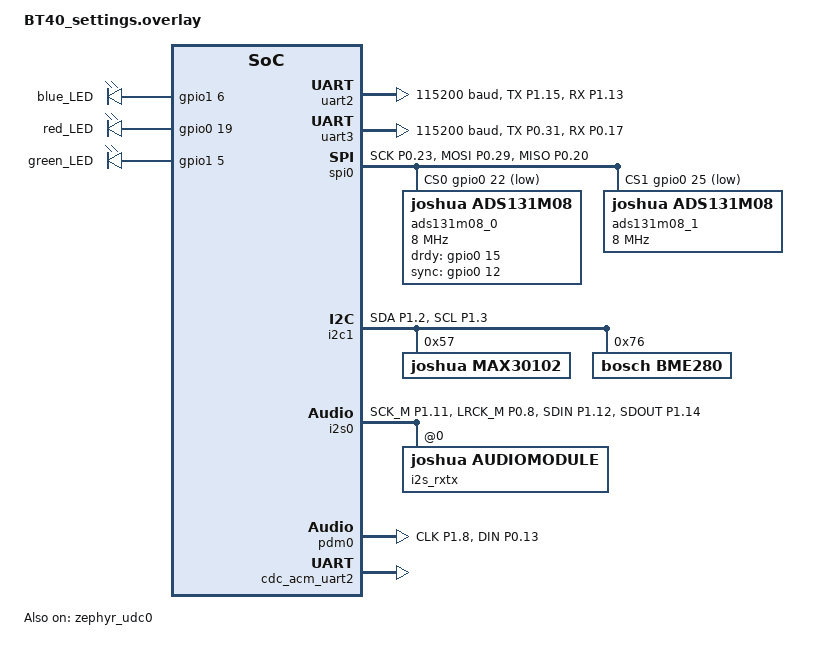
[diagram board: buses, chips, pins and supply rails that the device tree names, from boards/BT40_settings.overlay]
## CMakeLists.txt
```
cmake_minimum_required(VERSION 3.20.0)

# set(DTC_OVERLAY_FILE "nrf5340dk_nrf5340.overlay")

# Get the parent directory of ZEPHYR_BASE
# get_filename_component(PARENT_DIR ${ZEPHYR_BASE} DIRECTORY)
# set(MODULE_DIR "${PARENT_DIR}/modules")


find_package(Zephyr REQUIRED HINTS $ENV{ZEPHYR_BASE})


FILE(GLOB app_sources src/*.c*)
target_sources(app PRIVATE ${app_sources})

target_include_directories(app PRIVATE
                            include
                            include/Transports)

set_property(TARGET app PROPERTY CXX_STANDARD 17)

project(BT40_port_to_3.5)
```

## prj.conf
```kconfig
CONFIG_INIT_STACKS=y
CONFIG_THREAD_STACK_INFO=y
CONFIG_MAIN_STACK_SIZE=2048
CONFIG_SYSTEM_WORKQUEUE_STACK_SIZE=4096
CONFIG_BT_RX_STACK_SIZE=4096

# PWM
#CONFIG_PWM=y
#CONFIG_PWM_NRF5_SW=n
#CONFIG_PWM_NRFX=y

# Communication protocols
CONFIG_GPIO=y
CONFIG_I2C=y
CONFIG_SPI=y
#CONFIG_SPI_0=y

# choose UART console
CONFIG_UART_CONSOLE=n
CONFIG_LOG_BACKEND_UART=n

# Debug config
CONFIG_LOG=y
CONFIG_LOG_DEFAULT_LEVEL=3
CONFIG_LOG_MAX_LEVEL=3
# RTT Viewer
CONFIG_USE_SEGGER_RTT=y
CONFIG_LOG_BACKEND_RTT=y
CONFIG_RTT_CONSOLE=y
CONFIG_SEGGER_RTT_BUFFER_SIZE_UP=4096
#CONFIG_LOG_BACKEND_RTT_MODE_DROP=y
CONFIG_LOG_PRINTK=y

# BLE
CONFIG_BT=y
#CONFIG_BT_DEBUG_LOG=y
CONFIG_BT_PERIPHERAL=y
CONFIG_BT_CENTRAL=y
CONFIG_BT_DEVICE_NAME="BT40"
CONFIG_BT_GATT_CLIENT=y
CONFIG_BT_HCI_ACL_FLOW_CONTROL=y
CONFIG_BT_USER_PHY_UPDATE=y
CONFIG_BT_CTLR_PHY_2M=y
CONFIG_BT_CTLR_PHY_CODED=n
CONFIG_BT_ATT_PREPARE_COUNT=10
CONFIG_BT_CONN_TX_MAX=10
CONFIG_BT_L2CAP_TX_BUF_COUNT=10
CONFIG_BT_BUF_ACL_TX_SIZE=250

# Allow for large Bluetooth data packets.
CONFIG_BT_L2CAP_TX_MTU=252
CONFIG_BT_BUF_ACL_RX_SIZE=256

# Enable the Bluetooth (unauthenticated) and shell mcumgr transports.
# CONFIG_MCUMGR_SMP_BT=y
# CONFIG_MCUMGR_SMP_BT_AUTHEN=n
# CONFIG_MCUMGR_SMP_BT_CONN_PARAM_CONTROL=y
########################################################

# C++
CONFIG_CPLUSPLUS=y
CONFIG_LIB_CPLUSPLUS=y
CONFIG_NEWLIB_LIBC=y
#if  printf should be able to print float
CONFIG_NEWLIB_LIBC_FLOAT_PRINTF=y

#ADS131M08
CONFIG_USE_ADS131M08=y

#MAX30102
CONFIG_USE_MAX30102=y

#MPU6050
CONFIG_USE_MPU6050=y

#QMC
CONFIG_USE_QMC5883L=y

#TLC5940 LED Driver
# CONFIG_USE_TLC5940=y

#BME280
CONFIG_USE_BME280=y

#I2S AudioModule
#CONFIG_I2S=y
#CONFIG_USE_I2S=y

# Digital Microphone (DMIC) Module
#CONFIG_AUDIO=y
#CONFIG_USE_DMIC=y

# For FFT implementation
CONFIG_CMSIS_DSP=y
CONFIG_CMSIS_DSP_TRANSFORM=y
CONFIG_CMSIS_DSP_COMPLEXMATH=y
CONFIG_NEWLIB_LIBC=y
CONFIG_FPU=y

#USB transfer
# CONFIG_USB=y
CONFIG_USB_DEVICE_STACK=y #set to y if using usb
CONFIG_USB_DEVICE_PRODUCT="BT40"
CONFIG_USB_DEVICE_MANUFACTURER="joshuaBrewster"
CONFIG_USB_DRIVER_LOG_LEVEL_DBG=y
# Enable the USB CDC ACM driver (optional, for serial communication over USB)
CONFIG_USB_CDC_ACM=y
CONFIG_USB_CDC_ACM_LOG_LEVEL_INF=y
CONFIG_UART_LINE_CTRL=y
CONFIG_UART_ASYNC_API=y
CONFIG_UART_INTERRUPT_DRIVEN=y



CONFIG_HEAP_MEM_POOL_SIZE=2048

#Enable/Include Sensors. The sensor should be included with setting
# CONFIG_USE_SENSOR_NAME flag to y. For example: CONFIG_USE_BME280=y
# See Kconfig file for the full list of supported sensors
CONFIG_USE_MCU2MCU=y

# Needed for FOTA
########################################################
# Enable mcumgr.
# Ensure an MCUboot-compatible binary is generated.
CONFIG_BOOTLOADER_MCUBOOT=y


CONFIG_ZCBOR=y
CONFIG_MCUMGR=y
CONFIG_MCUMGR_TRANSPORT_BT=y

CONFIG_BOOT_BANNER_STRING="Booting BT40 + ADS131M08"
CONFIG_NCS_SAMPLE_MCUMGR_BT_OTA_DFU=y
```

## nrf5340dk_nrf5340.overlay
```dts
// To get started, press Ctrl+Space to bring up the completion menu and view the available nodes.
// For more help, browse the DeviceTree documentation at https: //docs.zephyrproject.org/latest/guides/dts/index.html

//NOTE gpio 1.xx are formatted as 32 + xx; e.g. 1.00 is 32, 1.10 is 42

/ {
    
    aliases {
        //pwmadc = &pwm_dev0;
        //tlc = &tlc5940;
    };

    //pwmdevs {
    //    compatible = "pwm-leds";
    //    pwm_dev0: pwm_dev_0 {
    //        pwms = <&pwm0 33>;
    //    };
    //};

    // tlc5940: tlc5940_node {
    //     // compatible = "gpio-leds";
    //     tlc-gpios = <&gpio1 0 GPIO_ACTIVE_HIGH>, /* output pin, GSCLK */
    //                 <&gpio1 1 GPIO_ACTIVE_HIGH>, /* output pin, XLAT */
    //                 <&gpio1 4 GPIO_ACTIVE_HIGH>, /* output pin, BLANK */
    //                 <&gpio1 5 GPIO_ACTIVE_HIGH>, /* output pin, SIN */
    //                 <&gpio1 6 GPIO_ACTIVE_HIGH>; /* output pin, SCLK */
    //     status = "okay";
    // };

};

// &pwm0 {
// 	status = "okay";
// 	ch0-pin = <33>;
// 	//ch0-inverted;
// };

&uart0 {
    status = "disabled";
};

&uart1 {
    status = "disabled";
};

// &uart2 {
//     status = "okay";
//     current-speed = <115200>;
//     tx-pin = <47>;
//     rx-pin = <45>;
//     rts-pin = <0xFFFFFFFF>;
//     cts-pin = <0xFFFFFFFF>;
// };

&uart3 {
    status = "okay";
    compatible = "nordic,nrf-uarte";
    current-speed = <115200>;
    tx-pin = <43>;
    rx-pin = <45>;
    rts-pin = <0xFFFFFFFF>;
    cts-pin = <0xFFFFFFFF>;
};

&spi0 {
    compatible = "nordic,nrf-spim";
    status = "okay";
    sck-pin = <23>;
    mosi-pin = <29>; //DIN
    miso-pin = <20>; //DOUT
    cs-gpios = <&gpio0 22 GPIO_ACTIVE_LOW>, <&gpio0 25 GPIO_ACTIVE_LOW>;

    ads131m08_0: ads131m08@0 {
        status = "okay";
        reg = <0>;
        label = "ADS131M08_0";
    };

    ads131m08_1: ads131m08@1 {
        status = "okay";
        reg = <1>;
        label = "ADS131M08_1";
    };
};

&spi1 {
    status = "disabled";
};

&spi2 {
    status = "disabled";
};

&i2c0 {
    status = "disabled";
};

&i2c1 {
    status = "okay";
    sda-pin = <34>;
    scl-pin = <35>;
    max30102@57 {
        compatible = "maxim,max30102";
        label = "MAX30102";
        reg = <0x57>;
        mode = <2>;
        status = "okay";
    };
    bme280: bme280@76 {
        /* 0x76 - SDO <-> GND */
        /* 0x77 - SDO <-> VCC */
        compatible = "bosch,bme280";
        reg = <0x76>;
        label = "ENVIRONMENTAL_SENSOR";
    };
};

&zephyr_udc0 {
    cdc_acm_uart2 {
        compatible = "zephyr,cdc-acm-uart";
        label = "CDC_ACM_0";
    };
};

&clock {
    hfclkaudio-frequency = <11289600>;
};

i2s_rxtx: &i2s0 {
    status = "okay";
    sck-pin =   <43>; 
    lrck-pin =  <8>; 
    sdout-pin = <44>;
    sdin-pin =  <46>; 
    clock-source = "ACLK";
};

dmic_dev: &pdm0 {
	status = "okay";
	clk-pin = <40>; 
	din-pin = <13>; 
	clock-source = "ACLK";
};
```

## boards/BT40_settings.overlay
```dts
// To get started, press Ctrl+Space to bring up the completion menu and view the available nodes.
// For more help, browse the DeviceTree documentation at https: //docs.zephyrproject.org/latest/guides/dts/index.html

//NOTE gpio 1.xx are formatted as 32 + xx; e.g. 1.00 is 32, 1.10 is 42

/ {
    
	chosen {
		//  zephyr,console = &uart0;
	};

	aliases {
		errorled = &led2;
		powerled = &led3;
		debugled = &led1;
		ads0 = &ads131m08_0;
		ads1 = &ads131m08_1;
		max = &max30102;
		bme = &bme280;
		// i2srxtx = &i2s_rxtx;
	};

	buttons {
		compatible = "gpio-keys";
		button0: button_0 {
			status = "disabled";
		};
		button1: button_1 {
			status = "disabled";
		};
		button2: button_2 {
			status = "disabled";
		};
		button3: button_3 {
			status = "disabled";
		};
	};
		
	leds {
		compatible = "gpio-leds";
		led1: led_1 {
			gpios = <&gpio1 6 GPIO_ACTIVE_HIGH>;
			label = "blue_LED";
		};
		led2: led_2 {
			gpios = <&gpio0 19 GPIO_ACTIVE_HIGH>;
			label = "red_LED";
		};
		led3: led_3 {
			gpios = <&gpio1 5 GPIO_ACTIVE_HIGH>;
			label = "green_LED";
		};
	};
};

&led0 {
	status = "disabled";
};
	
&uart0 {
	status = "disabled";
};

&uart1 {
	status = "disabled";
};
	
&uart2 {
    status = "okay";
    current-speed = <115200>;
	pinctrl-0 = <&uart2_default>;
	pinctrl-1 = <&uart2_sleep>;
	pinctrl-names = "default", "sleep";
	// label = "UART_2";
    // tx-pin = <47>;
    // rx-pin = <45>;
    // rts-pin = <0xFFFFFFFF>;
    // cts-pin = <0xFFFFFFFF>;
};

&uart3 {
	status = "okay";
    current-speed = <115200>;
	pinctrl-0 = <&uart3_default>;
	pinctrl-1 = <&uart3_sleep>;
	pinctrl-names = "default", "sleep";
	// label = "UART_3";
    // tx-pin = <31>;
    // rx-pin = <17>;
    // rts-pin = <0xFFFFFFFF>;
    // cts-pin = <0xFFFFFFFF>;
};

&spi0 {
	status = "okay";
	compatible = "nordic,nrf-spim";
	pinctrl-0 = <&spi0_default>;
	pinctrl-1 = <&spi0_sleep>;
	pinctrl-names = "default", "sleep";
	cs-gpios = <&gpio0 22 GPIO_ACTIVE_LOW>, <&gpio0 25 GPIO_ACTIVE_LOW>;
	// sck-pin = <23>;
	// miso-pin = <20>; //DOUT
	// mosi-pin = <29>; //DIN
	
	ads131m08_0: ads131m08@0 {
		status = "okay";
		// #address-cells = <1>;
		// #size-cells = <0>;
		spi-max-frequency = <DT_FREQ_M(8)>;
		drdy-gpios = <&gpio0 15  GPIO_PULL_UP>;				// Data Ready gpio
		sync-gpios = <&gpio0 12  GPIO_ACTIVE_HIGH>;			// ADC Reset gpio
		compatible = "joshua,ads131m08";
		reg = <0>;
		// label = "ADS131M08_0";
	};
	
	ads131m08_1: ads131m08@1 {
		status = "okay";
		// #address-cells = <1>;
		// #size-cells = <0>;
		spi-max-frequency = <DT_FREQ_M(8)>;
		// drdy-gpios = <&gpio0 11  GPIO_PULL_UP>;				// Data Ready gpio
		// sync-gpios = <&gpio0 9  GPIO_ACTIVE_HIGH>;			// ADC Reset gpio
		compatible = "joshua,ads131m08";
		reg = <1>;
		// label = "ADS131M08_1";
	};
};

&spi4 {
	status = "disabled";
};

&i2c1 {
   status = "okay";
   pinctrl-0 = <&i2c1_default>;
   pinctrl-1 = <&i2c1_sleep>;
	// label = "name_label";
	// sda-pin = <34>;
	// scl-pin = <35>;
   
   max30102: max30102@57 {
       status = "okay";
	   compatible = "joshua,max30102";
       reg = <0x57>;
	   //    mode = <2>;
	   //    label = "MAX30102";
	};
	
	bme280: bme280@76 {
	   /* 0x76 - SDO <-> GND */
	   /* 0x77 - SDO <-> VCC */
	   compatible = "bosch,bme280";
	   reg = <0x76>;
	   // label = "ENVIRONMENTAL_SENSOR";		// deprecated property
	};
};

// i2s_rxtx: &i2s0 {
&i2s0 {
    status = "okay";
	pinctrl-0 = <&i2s_default>;
    // // sck-pin =   <43>; 
    // // lrck-pin =  <8>; 
    // // sdout-pin = <44>;
    // // sdin-pin =  <46>; 
    clock-source = "ACLK";
	
	i2s_rxtx: i2s_rxtx@0 {
		status = "okay";
		compatible = "joshua,audiomodule";
		reg = <0x0>;
	};
};

&pdm0 {
	status = "okay";
	pinctrl-0 = <&pdm_default>;
	// clk-pin = <40>; 
	// din-pin = <13>; 
	clock-source = "ACLK";
	dmicdev: dmicdev {
		status = "okay";
	};
};
	
&zephyr_udc0 {
    cdc_acm_uart2 {
        compatible = "zephyr,cdc-acm-uart";
        // label = "CDC_ACM_0";			// Deprecated
    };
	status = "okay";
};

&clock {
    hfclkaudio-frequency = <11289600>;
};
 
&ieee802154 {
	status = "disabled";
};
 
&mutex {
	status = "disabled";
};

&nfct {
	status = "disabled";
};

&oscillators {
	status = "disabled";
};

&pwm0 {
	status = "disabled";
};

&ctrlap {
	status = "disabled";
};

&reset {
	status = "disabled";
};

&dcnf {
	status = "disabled";
};


&rtc1 {
	status = "disabled";
};

&gpio0 {
	status = "okay";
};

&gpio1 {
	status = "okay";
};

//-------------------------------------------------------------------
&pinctrl {
	uart2_default: uart2_default {
		group1 {
			psels = <NRF_PSEL(UART_TX, 1, 15)>,
			<NRF_PSEL(UART_RTS, 0, 0xFFFFFFFF)>;
		};
		group2 {
			psels = <NRF_PSEL(UART_RX, 1, 13)>,
			<NRF_PSEL(UART_CTS, 0, 0xFFFFFFFF)>;
			bias-pull-up;
		};
	};
	
	uart2_sleep: uart2_sleep {
		group1 {
			psels = <NRF_PSEL(UART_TX, 1, 15)>,
			<NRF_PSEL(UART_RX, 1, 13)>,
			<NRF_PSEL(UART_RTS, 0, 0xFFFFFFFF)>,
			<NRF_PSEL(UART_CTS, 0, 0xFFFFFFFF)>;
			low-power-enable;
		};
	};

	uart3_default: uart3_default {
		group1 {
			psels = <NRF_PSEL(UART_TX, 0, 31)>;
		};
		group2 {
			psels = <NRF_PSEL(UART_RX, 0, 17)>;
			bias-pull-up;
		};
	};
	
	uart3_sleep: uart3_sleep {
		group1 {
			psels = <NRF_PSEL(UART_TX, 0, 31)>,
			<NRF_PSEL(UART_RX, 0, 17)>;
			low-power-enable;
		};
	};
	
	spi0_default: spi0_default {
		group1 {
			psels = <NRF_PSEL(SPIM_SCK, 0, 23)>,
					<NRF_PSEL(SPIM_MOSI, 0, 29)>,
					<NRF_PSEL(SPIM_MISO, 0, 20)>;
		};
	};

	spi0_sleep: spi0_sleep {
		group1 {
			psels = <NRF_PSEL(SPIM_SCK, 0, 23)>,
				    <NRF_PSEL(SPIM_MISO, 0, 20)>,
					<NRF_PSEL(SPIM_MOSI, 0, 29)>;
			low-power-enable;
		};
	};
	
	i2c1_default: i2c1_default {
		group1 {
			psels = <NRF_PSEL(TWIM_SDA, 1, 2)>,
				<NRF_PSEL(TWIM_SCL, 1, 3)>;
		};
	};
	
	i2c1_sleep: i2c1_sleep {
		group1 {
			psels = <NRF_PSEL(TWIM_SDA, 1, 2)>,
				<NRF_PSEL(TWIM_SCL, 1, 3)>;
			low-power-enable;
		};
	};

	i2s_default: i2s_default {
		group1 {
			psels = <NRF_PSEL(I2S_SCK_M, 1, 11)>,
				<NRF_PSEL(I2S_LRCK_M, 0, 8)>,
				<NRF_PSEL(I2S_SDIN, 1, 12)>,
				<NRF_PSEL(I2S_SDOUT, 1, 14)>;
		};
	};

	pdm_default: pdm_default {
		group1 {
			psels = <NRF_PSEL(PDM_CLK, 1, 8)>,
				<NRF_PSEL(PDM_DIN, 0, 13)>;
		};
	};
};
```

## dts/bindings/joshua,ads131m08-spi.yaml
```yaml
description: ADS131M08 8-channel 24-bit Analog-to-Digital Converter

compatible: "joshua,ads131m08"

include: spi-device.yaml
# include: spi-controller.yaml

# on-bus: spi
```

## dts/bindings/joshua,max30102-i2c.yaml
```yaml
description: MAX30102 heart rate sensor

compatible: "joshua,max30102"

include: [sensor-device.yaml, i2c-device.yaml]
```

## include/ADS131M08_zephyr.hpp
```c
#pragma once

#include <zephyr/types.h>
#include <zephyr/device.h>
#include <zephyr/drivers/gpio.h>
#include <zephyr/drivers/spi.h>
#include <zephyr/sys/util.h>
#include <atomic>

#define ADS131_ID 0x00
#define ADS131_STATUS 0x01
#define ADS131_MODE 0x02
#define ADS131_CLOCK 0x03
#define ADS131_GAIN1 0x04
#define ADS131_GAIN2 0x05
#define ADS131_CFG 0x06
#define ADS131_THRSHLD_MSB 0x07
#define ADS131_THRSHLD_LSB 0x08

#define ADS131_CH0_CFG 0x09
#define ADS131_CH0_OCAL_MSB 0x0A
#define ADS131_CH0_OCAL_LSB 0x0B
#define ADS131_CH0_GCAL_MSB 0x0C
#define ADS131_CH0_GCAL_LSB 0x0D
#define ADS131_CH1_CFG 0x0E
#define ADS131_CH1_OCAL_MSB 0x0F
#define ADS131_CH1_OCAL_LSB 0x10
#define ADS131_CH1_GCAL_MSB 0x11
#define ADS131_CH1_GCAL_LSB 0x12
#define ADS131_CH2_CFG 0x13
#define ADS131_CH2_OCAL_MSB 0x14
#define ADS131_CH2_OCAL_LSB 0x15
#define ADS131_CH2_GCAL_MSB 0x16
#define ADS131_CH2_GCAL_LSB 0x17
#define ADS131_CH3_CFG 0x18
#define ADS131_CH3_OCAL_MSB 0x19
#define ADS131_CH3_OCAL_LSB 0x1A
#define ADS131_CH3_GCAL_MSB 0x1B
#define ADS131_CH3_GCAL_LSB 0x1C
#define ADS131_CH4_CFG 0x1D
#define ADS131_CH4_OCAL_MSB 0x1E
#define ADS131_CH4_OCAL_LSB 0x1F
#define ADS131_CH4_GCAL_MSB 0x20
#define ADS131_CH4_GCAL_LSB 0x21
#define ADS131_CH5_CFG 0x22
#define ADS131_CH5_OCAL_MSB 0x23
#define ADS131_CH5_OCAL_LSB 0x24
#define ADS131_CH5_GCAL_MSB 0x25
#define ADS131_CH5_GCAL_LSB 0x26
#define ADS131_CH6_CFG 0x27
#define ADS131_CH6_OCAL_MSB 0x28
#define ADS131_CH6_OCAL_LSB 0x29
#define ADS131_CH6_GCAL_MSB 0x2A
#define ADS131_CH6_GCAL_LSB 0x2B
#define ADS131_CH7_CFG 0x2C
#define ADS131_CH7_OCAL_MSB 0x2D
#define ADS131_CH7_OCAL_LSB 0x2E
#define ADS131_CH7_GCAL_MSB 0x2F
#define ADS131_CH7_GCAL_LSB 0x30


#define ADS131_REGMAP_CRC 0x3E
#define ADS131_RESERVED 0x3F

#define ADS131_READ 0x0A
#define ADS131_WRITE 0x06

class ADS131M08 {
    public:

    //SPIClass * spi = NULL; // SPISettings(spiClk, MSBFIRST, SPI_MODE1)
    int CS, XTAL, DRDY;
    int SpiClk;
    bool firstRead = true;
    uint8_t nWordsInFrame = 10; //< Normal frame contains 10 Words 
    uint8_t nBytesInWord = 3;   //< 24-bit Word by default
    // Dummy word frame to write ADC during ADC data reads
    
    ADS131M08();
    void init(uint8_t cs_pin, uint8_t drdy_pin, uint8_t sync_rst_pin, uint32_t spi_frequency);
    uint16_t readReg(uint8_t reg);
    bool writeReg(uint8_t reg, uint16_t data);
    bool setGain(uint8_t gain);
    void readAllChannels(uint8_t * data_buffer);

#if 0    
    void readChannels(int8_t * channelArrPtr, int8_t channelArrLen, int32_t * outputArrPtr);
    void readAllChannels(int32_t inputArr[8]);
    int32_t readChannelSingle(int8_t channel);
    bool globalChop(bool enabled, uint8_t log2delay);
    bool writeReg(uint8_t reg, uint16_t data);
    uint16_t readReg(uint8_t reg);
    bool setGain(int gain);
    uint32_t spiTransferWord(uint16_t inputData = 0x0000);
    void spiCommFrame(uint32_t * outPtr, uint16_t command = 0x0000);
    int32_t twoCompDeco(uint32_t data);
#endif

private:
    //uint32_t spiTransferWord(uint16_t inputData = 0x0000);
    void spiCommandFrame(uint8_t frame_size, uint8_t *cmdFrame);
    uint16_t spiResponseFrame(uint8_t frame_size);
    void spiDataFrame(uint8_t frame_size, uint8_t *data_buffer);
    
    //void ads131m08_drdy_cb(const struct device *port, struct gpio_callback *cb, gpio_port_pins_t pins);           ///< Callback function to call when data ready 
    std::atomic<int> deviceStatus = 0;  ///< SPI Device status
    const device *spiDevice = nullptr;  ///< Logical SPI device
    const device *gpioDevice = nullptr; ///< Device for GPIOs (DRDY and SYNC/RESET)
    struct gpio_callback callback;      ///< 
    struct spi_cs_control csConfig;     ///< Chip select config
    struct spi_config spiConfig;        ///< SPI transport config
};


#if 0
#ifndef ADS131M08_H
#define ADS131M08_H
//ADS131M08.cpp LGPL 
//Adapted for the 8 channel device from https://github.com/icl-rocketry/ADS131M04-Lib (LGPL)


/* Definitions of all the addresses of the registers of the ADS131M04
   Chip. For the content of the registers, please refer to the datasheet:

   https://www.ti.com/lit/gpn/ads131m04

   Written by Imperial College London Rocketry
   Electronics subteam
*/

#include <zephyr/types.h>
#include <device.h>
#include <drivers/gpio.h>
#include <drivers/spi.h>
#include <sys/util.h>

#define ADS131_ID 0x00
#define ADS131_STATUS 0x01
#define ADS131_MODE 0x02
#define ADS131_CLOCK 0x03
#define ADS131_GAIN1 0x04
#define ADS131_GAIN2 0x05
#define ADS131_CFG 0x06
#define ADS131_THRSHLD_MSB 0x07
#define ADS131_THRSHLD_LSB 0x08

#define ADS131_CH0_CFG 0x09
#define ADS131_CH0_OCAL_MSB 0x0A
#define ADS131_CH0_OCAL_LSB 0x0B
#define ADS131_CH0_GCAL_MSB 0x0C
#define ADS131_CH0_GCAL_LSB 0x0D
#define ADS131_CH1_CFG 0x0E
#define ADS131_CH1_OCAL_MSB 0x0F
#define ADS131_CH1_OCAL_LSB 0x10
#define ADS131_CH1_GCAL_MSB 0x11
#define ADS131_CH1_GCAL_LSB 0x12
#define ADS131_CH2_CFG 0x13
#define ADS131_CH2_OCAL_MSB 0x14
#define ADS131_CH2_OCAL_LSB 0x15
#define ADS131_CH2_GCAL_MSB 0x16
#define ADS131_CH2_GCAL_LSB 0x17
#define ADS131_CH3_CFG 0x18
#define ADS131_CH3_OCAL_MSB 0x19
#define ADS131_CH3_OCAL_LSB 0x1A
#define ADS131_CH3_GCAL_MSB 0x1B
#define ADS131_CH3_GCAL_LSB 0x1C
#define ADS131_CH4_CFG 0x1D
#define ADS131_CH4_OCAL_MSB 0x1E
#define ADS131_CH4_OCAL_LSB 0x1F
#define ADS131_CH4_GCAL_MSB 0x20
#define ADS131_CH4_GCAL_LSB 0x21
#define ADS131_CH5_CFG 0x22
#define ADS131_CH5_OCAL_MSB 0x23
#define ADS131_CH5_OCAL_LSB 0x24
#define ADS131_CH5_GCAL_MSB 0x25
#define ADS131_CH5_GCAL_LSB 0x26
#define ADS131_CH6_CFG 0x27
#define ADS131_CH6_OCAL_MSB 0x28
#define ADS131_CH6_OCAL_LSB 0x29
#define ADS131_CH6_GCAL_MSB 0x2A
#define ADS131_CH6_GCAL_LSB 0x2B
#define ADS131_CH7_CFG 0x2C
#define ADS131_CH7_OCAL_MSB 0x2D
#define ADS131_CH7_OCAL_LSB 0x2E
#define ADS131_CH7_GCAL_MSB 0x2F
#define ADS131_CH7_GCAL_LSB 0x30


#define ADS131_REGMAP_CRC 0x3E
#define ADS131_RESERVED 0x3F

#define ADS131_READ 0x0A
#define ADS131_WRITE 0x06


class ADS131M08 {
    public:

    SPIClass * spi = NULL; // SPISettings(spiClk, MSBFIRST, SPI_MODE1)
    int CS, XTAL, DRDY;
    int SpiClk;
    bool firstRead = true;
    int nFrameWords = 10;
    // Dummy word frame to write ADC during ADC data reads
    
    //arduino
    ADS131M08(int cs=5, int xtal=22, int drdy=21, int clk = 2000000);
    void init(int clkin = 8192000);
    void readChannels(int8_t * channelArrPtr, int8_t channelArrLen, int32_t * outputArrPtr);
    void readAllChannels(int32_t inputArr[8]);
    int32_t readChannelSingle(int8_t channel);
    bool globalChop(bool enabled, uint8_t log2delay);
    bool writeReg(uint8_t reg, uint16_t data);
    uint16_t readReg(uint8_t reg);
    bool setGain(int gain);
    uint32_t spiTransferWord(uint16_t inputData = 0x0000);
    void spiCommFrame(uint32_t * outPtr, uint16_t command = 0x0000);
    int32_t twoCompDeco(uint32_t data);
    
    //zephyr
    struct device *dev;
    struct spi_dt_spec spi;
    struct gpio_dt_spec interrupt;
};

#endif

#endif
```

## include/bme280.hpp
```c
#pragma once

#include <zephyr/kernel.h>
#include <zephyr/device.h>
#include <zephyr/devicetree.h>
#include <zephyr/drivers/sensor.h>
#include <atomic>
#include <stdlib.h>
#include <zephyr/logging/log.h>

#include "ble_service.hpp"
#include "usb_comm_handler.hpp"
#include "ble_types.hpp"
#include "ble_commands.hpp"

class UsbCommHandler;

namespace
{
    constexpr static int stackSize = 1024;           ///< Worker thread size
    constexpr static int taskPriority = 7;           ///< Worker thread priority
    K_THREAD_STACK_DEFINE(pollStackArea, stackSize); ///< Worker thread stack

struct bme280_data {
	/* Compensation parameters. */
	uint16_t dig_t1;
	int16_t dig_t2;
	int16_t dig_t3;
	uint16_t dig_p1;
	int16_t dig_p2;
	int16_t dig_p3;
	int16_t dig_p4;
	int16_t dig_p5;
	int16_t dig_p6;
	int16_t dig_p7;
	int16_t dig_p8;
	int16_t dig_p9;
	uint8_t dig_h1;
	int16_t dig_h2;
	uint8_t dig_h3;
	int16_t dig_h4;
	int16_t dig_h5;
	int8_t dig_h6;

	/* Compensated values. */
	int32_t comp_temp;
	uint32_t comp_press;
	uint32_t comp_humidity;

	/* Carryover between temperature and pressure/humidity compensation. */
	int32_t t_fine;

	uint8_t chip_id;
};    
}

/**
 * @brief Bme280 driver
 */
class Bme280 {   
  
    constexpr static auto pollPeriod = 300;  ///< BME280 polling period in milliseconds
    constexpr static uint8_t bme280_id = 0x60;
    constexpr static uint8_t bmp280_id_sample_1 = 0x56;
    constexpr static uint8_t bmp280_id_sample_2 = 0x57;
    constexpr static uint8_t bmp280_id_mp = 0x58;

public:
    /**
     * @brief Construct a new Bme280 object
     */
    Bme280(UsbCommHandler &controller);

    /**
     * @brief Initialization function. Used to perform actual initialization. Because of software stack initialization
     * could not be done in constructor
     * @return Status, 0 for no errors
     */
    int Initialize();    

    /**
     * @brief Start taking BME280 samples (ambient tempeature, pressure, himidity)
     */
    void StartSampling();    

    /**
     * @brief Stop taking BME280 samples (ambient tempeature, pressure, himidity)
     */
    void StopSampling();

    /**
     * @brief Check if either BME280 or BMP280 device is connected to I2C bus
     * @return TRUE if either of BME280 or BMP280 is on the bus, FALSE otherwise
     */
    bool BmX280IsOnI2cBus(); 

    /**
     * @brief Check if BME280 device is connected to I2C bus
     * @return TRUE if BME280 is on the bus, FALSE otherwise
     */
    bool Bme280IsOnI2cBus(); 

private:
    /**
     * @brief Main working thread. Used to perform accelerometer polling.
     * Due possible blocking during accelerometer measurments reading
     * it required a separate stack to not break main BLE stack state machine
     * 
     * @param data pointer to this
     */
    static void WorkingThread(void *data, void *, void *){
        Bme280 *self = static_cast<Bme280 *>(data);
        int ret = 0;        
        self->tx_buf[0] = self->bmx_id;

        for (;;)
        {
            k_sem_take(&self->pollSemaphore, K_FOREVER);

            ret = sensor_sample_fetch(self->bme280_dev);
            ret += sensor_channel_get(self->bme280_dev, SENSOR_CHAN_AMBIENT_TEMP, &self->temperature_channel);
            ret += sensor_channel_get(self->bme280_dev, SENSOR_CHAN_PRESS, &self->pressure_channel);
		    
            if(self->Bme280IsOnI2cBus()){ // If BME280 is on I2C Buss
               ret += sensor_channel_get(self->bme280_dev, SENSOR_CHAN_HUMIDITY, &self->humidity_channel);

                if (ret == 0){
                    memcpy((self->tx_buf + 24*self->sample_cnt + 2), &self->temperature_channel.val1, sizeof(self->temperature_channel));
                    memcpy((self->tx_buf + 24*self->sample_cnt + 10), &self->pressure_channel.val1, sizeof(self->pressure_channel));
                    memcpy((self->tx_buf + 24*self->sample_cnt + 18), &self->humidity_channel.val1, sizeof(self->humidity_channel));

                    self->sample_cnt++;

                    if(self->sample_cnt == 3){
                        self->sample_cnt = 0;
                        self->tx_buf[1] = self->packet_cnt;
                        self->packet_cnt++;
                        self->serialHandler.SendBme280Samples(self->tx_buf, 74);
                        Bluetooth::Bme280Notify(self->tx_buf, 74); 
                    }
                } else {

                }           
            } else {  // BMP280 is on the bus. Don't fetch Humidity data.
                if (ret == 0){
                    memcpy((self->tx_buf + 16*self->sample_cnt + 2), &self->temperature_channel.val1, sizeof(self->temperature_channel));
                    memcpy((self->tx_buf + 16*self->sample_cnt + 10), &self->pressure_channel.val1, sizeof(self->pressure_channel));

                    self->sample_cnt++;

                    if(self->sample_cnt == 3){
                        self->sample_cnt = 0;
                        self->tx_buf[1] = self->packet_cnt;
                        self->packet_cnt++;
                        self->serialHandler.SendBme280Samples(self->tx_buf, 50);
                        Bluetooth::Bme280Notify(self->tx_buf, 50); 
                    }
                } else {

                }           
            }

        }
    }

    /**
     * @brief Reset Bme280 device
     */
    void Reset();

    /**
     * @brief Get a device structure from a devicetree node with compatible
     * "bosch,bme280". (If there are multiple, just pick one.)
     */
    const struct device * get_bme280_device(void);

    /**
     * @brief Shutdown Bme280 device
     */
    void Shutdown();

    /**
     * @brief Wakeup Bme280 device
     */
    void Wakeup();

    /**
     * @brief Read ID register and figure out whether we have BMP280 or BME280 on I2C bus
     */
    void GetChipId(const struct device *dev);

    /**
     * @brief Called when trigger mode is received via BLE
     * 
     * @param buffer receviced buffer
     * @param length buffer length
     * @param offset data offset
     * 
     * @return true if command was processed succesfully
     */
    bool OnBleCommand(const uint8_t* buffer, Bluetooth::CommandKey key, Bluetooth::BleLength length, Bluetooth::BleOffset offset);

    /**
     * @brief Timer handler. Used to queue Reading of the BME280 data.
     * 
     * @param tmr timer object
     * @warning Called at ISR Level, no actual workload should be implemented here
     */
    static void TimerHandler(k_timer *tmr){
        Bme280 *self = CONTAINER_OF(tmr, Bme280, timer);
        k_sem_give(&self->pollSemaphore);
    }

    struct bme280_data * ToData(const struct device *dev);

    const struct device * bme280_dev;
    uint8_t bmx_id; 
    uint8_t sample_cnt;
    uint8_t packet_cnt;
    std::atomic<bool> bme280_is_on_i2c_bus_; ///< Device status
    std::atomic<bool> bmp280_is_on_i2c_bus_; ///< Device status
    UsbCommHandler &serialHandler; ///< USB communication controller
    uint8_t tx_buf[73] = {};
    k_timer timer;       ///< Timer object
    k_sem pollSemaphore; ///< Semaphore used to accelerometer polling
    k_thread worker;     ///< Worker thread
    struct sensor_value temperature_channel; ///< Value taken from one of the BME280 ambient temperature channel
    struct sensor_value pressure_channel; ///< Value taken from one of the BME280 pressure channel
    struct sensor_value humidity_channel; ///< Value taken from one of the BME280 humidity channel
};
```

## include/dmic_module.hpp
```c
#pragma once

#include <string.h>
#include <nrf.h>
#include <zephyr/kernel.h>

#include <zephyr/types.h>
#include <zephyr/device.h>
#include <zephyr/drivers/gpio.h>

#include <zephyr/sys/util.h>
#include <atomic>
#include "ble_types.hpp"
#include "ble_commands.hpp"
#include "device_string.hpp"

/*************************/
#include <zephyr/device.h>
#include <zephyr/audio/dmic.h>
#include "arm_math.h"
#include "dsp/transform_functions.h"

#include <zephyr/logging/log.h>
#include <zephyr/sys/printk.h>

#define MAX_SAMPLE_RATE  16000
#define SAMPLE_BIT_WIDTH 16
#define BYTES_PER_SAMPLE sizeof(int16_t)
/* Milliseconds to wait for a block to be read. */
#define READ_TIMEOUT     1000

#define FFT_LENGTH 32

/* Size of a block for 100 ms of audio data. */
#define BLOCK_SIZE(_sample_rate, _number_of_channels) \
	(BYTES_PER_SAMPLE * (_sample_rate / 10) * _number_of_channels)

/* Driver will allocate blocks from this slab to receive audio data into them.
 * Application, after getting a given block from the driver and processing its
 * data, needs to free that block.
 */
#define MAX_BLOCK_SIZE   BLOCK_SIZE(MAX_SAMPLE_RATE, 1)
#define BLOCK_COUNT      8

namespace
{
    constexpr static int stackSizeDmic = 2048;           ///< Worker thread size
    constexpr static int taskPriorityDmic = 1;           ///< Worker thread priority
    K_THREAD_STACK_DEFINE(pollStackAreaDmic, stackSizeDmic); ///< Worker thread stack
} // namespace

/**
 * @brief DmicModule driver
 */
class DmicModule {
    
public:
    /**
     * @brief Construct a new DmicModule object
     */
    DmicModule();

    /**
     * @brief Initialization function. Used to perform actual initialization. Because of software stack initialization
     * could not be done in constructor
     * @return Status, 0 for no errors
     */
    int Initialize();

    /**
     * @brief Start taking Audio samples
     */
    int StartSampling();

    /**
     * @brief Stop taking Audio samples
     */
    int StopSampling();

private:
    /**
     * @brief Called when trigger mode is received via BLE
     * 
     * @param buffer receviced buffer
     * @param length buffer length
     * @param offset data offset
     * 
     * @return true if command was processed succesfully
     */
    bool OnBleCommand(const uint8_t* buffer, Bluetooth::CommandKey key, Bluetooth::BleLength length, Bluetooth::BleOffset offset);
    int do_pdm_transfer(const struct device *dmic_dev, struct dmic_cfg *cfg, size_t block_count);

    static void WorkingThreadDmic(void *data, void *, void *);
    k_thread worker;     ///< Worker thread
    void *mem_blocks;
    const struct device* dmic_dev; ///< Logical device
};
```

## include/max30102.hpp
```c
#pragma once

#include <zephyr/types.h>
#include <zephyr/device.h>
#include <zephyr/drivers/gpio.h>
//#include <drivers/i2c.h>
#include <zephyr/sys/util.h>
#include <atomic>
#include "i2c_transport.hpp"
#include "device_string.hpp"
#include "ble_types.hpp"
#include "ble_commands.hpp"

class UsbCommHandler;
//#define DT_DRV_COMPAT maxim_max30102

#define MAX30102_REG_INT_STS1 0x00
#define MAX30102_REG_INT_STS2 0x01
#define MAX30102_REG_INT_EN1 0x02
#define MAX30102_REG_INT_EN2 0x03
#define MAX30102_REG_FIFO_WR 0x04
#define MAX30102_REG_FIFO_OVF 0x05
#define MAX30102_REG_FIFO_RD 0x06
#define MAX30102_REG_FIFO_DATA 0x07
#define MAX30102_REG_FIFO_CFG 0x08
#define MAX30102_REG_MODE_CFG 0x09
#define MAX30102_REG_SPO2_CFG 0x0a
#define MAX30102_REG_LED1_PA 0x0c
#define MAX30102_REG_LED2_PA 0x0d
/* #define MAX30102_REG_LED3_PA		0x0e */
#define MAX30102_REG_PILOT_PA 0x10
#define MAX30102_REG_MULTI_LED1 0x11
#define MAX30102_REG_MULTI_LED2 0x12
#define MAX30102_REG_TINT 0x1f
#define MAX30102_REG_TFRAC 0x20
#define MAX30102_REG_TEMP_CFG 0x21
#define MAX30102_REG_PROX_INT 0x30
#define MAX30102_REG_REV_ID 0xfe
#define MAX30102_REG_PART_ID 0xff

#define MAX30102_INT_PPG_MASK (1 << 6)

#define MAX30102_FIFO_CFG_SMP_AVE_SHIFT 5
#define MAX30102_FIFO_CFG_FIFO_FULL_SHIFT 0
#define MAX30102_FIFO_CFG_ROLLOVER_EN_MASK (1 << 4)

#define MAX30102_MODE_CFG_SHDN_MASK (1 << 7)
#define MAX30102_MODE_CFG_RESET_MASK (1 << 6)

#define MAX30102_SPO2_ADC_RGE_SHIFT 5
#define MAX30102_SPO2_SR_SHIFT 2
#define MAX30102_SPO2_PW_SHIFT 0

#define MAX30102_PART_ID 0x15

#define FIFO_A_FULL_MASK    (1 << 7)
#define PPG_RDY_MASK        (1 << 6)
#define ALC_OVF_MASK        (1 << 5)
#define PWR_RDY_MASK        (1 << 0)
#define DIE_TEMP_RDY_MASK   (1 << 1)

#define MAX30102_BYTES_PER_CHANNEL 3
#define MAX30102_MAX_NUM_CHANNELS 2
#define MAX30102_MAX_BYTES_PER_SAMPLE (MAX30102_MAX_NUM_CHANNELS * \
                                       MAX30102_BYTES_PER_CHANNEL)

#define MAX30102_SLOT_LED_MASK 0x03

#define MAX30102_FIFO_DATA_BITS 18
#define MAX30102_FIFO_DATA_MASK ((1 << MAX30102_FIFO_DATA_BITS) - 1)

#define MAX30102_INTR_2_DIE_TEMP_RDY_EN 2
#define MAX30102_TEMP_CFG_TEMP_EN 1

/* Interrupt Status 1 Register */
#define MAX30102_INTR_STATUS_1_A_FULL(x) (((x) >> 7) & 0x1)
#define MAX30102_INTR_STATUS_1_PPG_RDY(x) (((x) >> 6) & 0x1)
#define MAX30102_INTR_STATUS_1_ALC_OVF(x) (((x) >> 5) & 0x1)
#define MAX30102_INTR_STATUS_1_PWR_RDY(x) (((x) >> 0) & 0x1)

/* Interrupt Status 2 Register */
#define MAX30102_INTR_STATUS_2_DIE_TEMP_RDY(x) (((x) >> 1) & 0x1)

    struct max30102_config {
        uint8_t interrupt_config_1;
        uint8_t interrupt_config_2;
        uint8_t fifo_config;
        uint8_t mode_config;
        uint8_t spo2_config;
        uint8_t led_pa[MAX30102_MAX_NUM_CHANNELS];
        uint8_t slot_config[MAX30102_MAX_NUM_CHANNELS];
    };

    enum class max30102_mode : uint8_t {
        MAX30102_MODE_HEART_RATE = 2,
        MAX30102_MODE_SPO2 = 3,
        MAX30102_MODE_MULTI_LED = 7,
    };

    enum class max30102_slot : uint8_t {
        MAX30102_SLOT_DISABLED = 0,
        MAX30102_SLOT_RED_LED1_PA,
        MAX30102_SLOT_IR_LED2_PA,
        MAX30102_SLOT_GREEN_LED3_PA,
        MAX30102_SLOT_RED_PILOT_PA,
        MAX30102_SLOT_IR_PILOT_PA,
        MAX30102_SLOT_GREEN_PILOT_PA,
    };

    enum class max30102_led_channel : uint8_t {
        MAX30102_LED_CHANNEL_RED = 0,
        MAX30102_LED_CHANNEL_IR,
        MAX30102_LED_CHANNEL_GREEN,
    };

    enum class max30102_pw : uint8_t {
        MAX30102_PW_15BITS = 0,
        MAX30102_PW_16BITS,
        MAX30102_PW_17BITS,
        MAX30102_PW_18BITS,
    };

    enum class max30102_intr_1 : uint8_t {
        MAX30102_INTR_1_ALC_OVF_EN = 32,
        MAX30102_INTR_1_PPG_RDY_EN = 64,
        MAX30102_INTR_1_A_FULL_EN = 128,
    };

/**
 * @brief Max30102 driver
 */
class Max30102 {

    // using I2C_1DeviceName = DeviceString<'I', '2', 'C', '_', '1'>;
    // using I2C_1DeviceName = DeviceString<'i', '2', 'c', '1', 'm', 'a', 'x'>;
    using I2C_1DeviceName = DeviceString<'m', 'a', 'x', '3', '0', '1', '0', '2'>;


    constexpr static uint8_t max30102_i2c_address = 0x57; //I2C Address
    constexpr static uint8_t max30102_id = 0x15; // Part ID
    uint8_t tx_buf[195] = {};

    struct max30102_data {
        const struct device *i2c;
        uint32_t raw[MAX30102_MAX_NUM_CHANNELS];
        uint8_t map[MAX30102_MAX_NUM_CHANNELS];
        uint8_t num_channels;

        /* Die temperature */
        int8_t tint;
        uint8_t tfrac;
    };

public:
    /**
     * @brief Construct a new Max30102 object
     */
    Max30102(UsbCommHandler &controller);

    /**
     * @brief Initialization function. Used to perform actual initialization. Because of software stack initialization
     * could not be done in constructor
     * @return Status, 0 for no errors
     */
    int Initialize();    

    /**
     * @brief Configure Max30102 device
     * 
     * @param config Configuration details
     * @return Status, 0 for no errors
     */
    int Configure(max30102_config config);

    /**
     * @brief Start taking Red and IR samples
     */
    void StartSampling();    

    /**
     * @brief Stop taking Red and IR samples
     */
    void StopSampling();

    /**
     * @brief Initiate Single Temperature Reading. Max30102 will generate interrupt when temperature sample is available.
     */
    void InitiateTemperatureReading();    

    /**
     * @brief Handle Max30102 Interrupt. Figure out interrupt reason and take the appropriate action
     */
    void HandleInterrupt(); 

    /**
     * @brief Check if MAX30102 device is connected to I2C bus
     */
    bool IsOnI2cBus(); 

private:
    /**
     * @brief Reset Max30102 device
     */
    void Reset();

    /**
     * @brief Shutdown Max30102 device
     */
    void Shutdown();

    /**
     * @brief Wakeup Max30102 device
     */
    void Wakeup();

    /**
     * @brief Called when trigger mode is received via BLE
     * 
     * @param buffer receviced buffer
     * @param length buffer length
     * @param offset data offset
     * 
     * @return true if command was processed succesfully
     */
    bool OnBleCommand(const uint8_t* buffer, Bluetooth::CommandKey key, Bluetooth::BleLength length, Bluetooth::BleOffset offset);

    /**
     * @brief Read Temperature Registers
     */
    void TemperatureRead();
    uint8_t packet_cnt;
    std::atomic<bool> max30102_is_on_i2c_bus_; ///< Device status
    I2CTransport<I2C_1DeviceName, max30102_i2c_address> transport; ///< I2C transport for device
    UsbCommHandler &serialHandler; ///< USB communication controller
};
```

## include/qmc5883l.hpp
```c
#pragma once

#include <zephyr/types.h>
#include <zephyr/device.h>
#include <zephyr/drivers/gpio.h>
//#include <zephyr/drivers/i2c.h>
#include <zephyr/sys/util.h>
#include <atomic>
#include "i2c_transport.hpp"
#include "device_string.hpp"
#include "ble_types.hpp"
#include "ble_commands.hpp"

class UsbCommHandler;

#define QMC5883L_ADDRESS            0x0D

// Internal I2C register list
#define QMC5883L_X_LSB              0x00
#define QMC5883L_X_MSB              0x01
#define QMC5883L_Y_LSB              0x02
#define QMC5883L_Y_MSB              0x03
#define QMC5883L_Z_LSB              0x04
#define QMC5883L_Z_MSB              0x05
#define QMC5883L_STATUS_REG         0x06
#define QMC5883L_TOUT_LSB           0x07
#define QMC5883L_TOUT_MSB           0x08
#define QMC5883L_CTRL_REG_1         0x09
#define QMC5883L_CTRL_REG_2         0x0A
#define QMC5883L_SET_RESET_PERIOD   0x0B
#define QMC5883L_WHO_AM_I           0x0D

#define QMC5883L_DRDY_BIT           0
#define QMC5883L_OVL_BIT            1
#define QMC5883L_DOR_BIT            2

#define QMC5883L_SOFT_RST_BIT       7

#define QMC5833L_MODE_MASK          (3 << 0)
#define QMC5833L_ODR_MASK           (3 << 2)
#define QMC5833L_RNG_MASK           (3 << 4)
#define QMC5833L_OSR_MASK           (3 << 6)

// Mode
#define QMC5833L_MODE_STANDBY       (0x00)
#define QMC5833L_MODE_CONTINUOUS    (0x01)
// Output Data Rate (ODR)
#define QMC5833L_ODR_10Hz           (0x00)
#define QMC5833L_ODR_50Hz           (0x01)
#define QMC5833L_ODR_100Hz          (0x02)
#define QMC5833L_ODR_200Hz          (0x03)
// Full scale (FS)
#define QMC5833L_FS_2G              (0x00)
#define QMC5833L_FS_8G              (0x01)
// Over Sample Ratio (OSR)
#define QMC5833L_OSR_512            (0x00)
#define QMC5833L_OSR_256            (0x01)
#define QMC5833L_OSR_128            (0x02)
#define QMC5833L_OSR_64             (0x03)

struct qmc5883l_config {
    uint8_t ctrl_reg_1;
    uint8_t ctrl_reg_2;
};

/**
 * @brief Qmc5883l driver
 */
class Qmc5883l {

    // using I2C_1DeviceName = DeviceString<'I', '2', 'C', '_', '1'>;
    using I2C_1DeviceName = DeviceString<'i', '2', 'c', '1'>;

    constexpr static uint8_t qmc5883l_id = 0xFF; // Part ID
    uint8_t tx_buf[250] = {};

public:
    /**
     * @brief Construct a new Qmc5883l object
     */
    Qmc5883l(UsbCommHandler &controller);

    /**
     * @brief Initialization function. Used to perform actual initialization. Because of software stack initialization
     * could not be done in constructor
     * @return Status, 0 for no errors
     */
    int Initialize();

    /**
     * @brief Configure Qmc5883l device
     *
     * @param config Configuration details
     * @return Status, 0 for no errors
     */
    int Configure(qmc5883l_config config);

    /**
     * @brief Start taking Accel and Gyro samples
     */
    void StartSampling();

    /**
     * @brief Stop taking Accel and Gyro samples
     */
    void StopSampling();

    /**
     * @brief Get Qmc5883l Die Temperature.
     */
    void GetDieTemperature();

    /**
     * @brief Handle Qmc5883l Interrupt. Figure out interrupt reason and take the appropriate action
     */
    void HandleInterrupt();

    /**
     * @brief Check if Qmc5883l device is connected to I2C bus
     */
    bool IsOnI2cBus();

private:
    /**
     * @brief Reset Qmc5883l device
     */
    void Reset();

    /**
     * @brief Shutdown Qmc5883l device
     */
    void Shutdown();

    /**
     * @brief Wakeup Qmc5883l device
     */
    void Wakeup();

    /**
     * @brief Read Temperature Registers
     */
    void TemperatureRead();

    /**
     * @brief Called when trigger mode is received via BLE
     * 
     * @param buffer receviced buffer
     * @param length buffer length
     * @param offset data offset
     * 
     * @return true if command was processed succesfully
     */
    bool OnBleCommand(const uint8_t* buffer, Bluetooth::CommandKey key, Bluetooth::BleLength length, Bluetooth::BleOffset offset);


    uint8_t sample_cnt;
    uint8_t packet_cnt;
    std::atomic<bool> qmc5883l_is_on_i2c_bus_; ///< Device status
    I2CTransport<I2C_1DeviceName, QMC5883L_ADDRESS> transport; ///< I2C transport for device
    UsbCommHandler &serialHandler; ///< USB communication controller

};
```

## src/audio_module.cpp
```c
#include <zephyr/logging/log.h>
#include <zephyr/sys/printk.h>

#include "audio_module.hpp"
#include "ble_service.hpp"
#include "usb_comm_handler.hpp"
// For registering callback
#include "ble_service.hpp"

#define DEVICE_NODE DT_NODELABEL(i2s_rxtx)
// #define DEVICE_NODE DT_ALIAS(i2srxtx)
// #define DEVICE_NODE DT_CHILD(DT_NODELABEL(i2s0), i2s_rxtx)

/** Register log module */
LOG_MODULE_REGISTER(i2s, LOG_LEVEL_INF);

/* Define a new Memory Slab which consistes of NUM_BLOCKS blocks
   __________________________________________________________________________
  |    Block 0   |    Block 1   |    Block 2   |    Block 3   |    Block 4   |
  |    0...31    |    0...31    |    0...31    |    0...31    |    0...31    |
  |______________|______________|______________|______________|______________|
*/
static K_MEM_SLAB_DEFINE(mem_slab, I2S_BLOCK_SIZE, NUM_BLOCKS, NUM_SAMPLES);

AudioModule::AudioModule() {
    LOG_DBG("AudioModule Constructor!");
}

int AudioModule::Initialize() {

    LOG_DBG("Starting AudioModule Initialization...");

    i2s_dev = DEVICE_DT_GET(DEVICE_NODE);
    if (!device_is_ready(i2s_dev)) {
        LOG_ERR("%s is not ready\n", i2s_dev->name);
        return -1;
    } else {
        LOG_DBG("i2s_dev ready!");
    }

    struct i2s_config i2s_cfg;
    i2s_cfg.word_size = 16; // due to int16_t in data_frame declaration
    i2s_cfg.channels = 2; // L + R channel
    i2s_cfg.format = I2S_FMT_DATA_FORMAT_I2S;
    i2s_cfg.options = I2S_OPT_BIT_CLK_MASTER | I2S_OPT_FRAME_CLK_MASTER;
    i2s_cfg.frame_clk_freq = 44100;
    i2s_cfg.mem_slab = &mem_slab;
    i2s_cfg.block_size = I2S_BLOCK_SIZE;
    i2s_cfg.timeout = 1000;
    
    int ret = i2s_configure(i2s_dev, I2S_DIR_TX, &i2s_cfg);
    if (ret < 0) {
        LOG_ERR("Failed to configure the I2S stream: (%d)\n", ret);
        return ret;
    } else {
        LOG_DBG("i2s_configured successfully!");
    }

    ret = k_mem_slab_alloc(&mem_slab, &mem_blocks, K_NO_WAIT);
    if (ret < 0) {
        LOG_ERR("Failed to allocate the memory blocks: %d\n", ret);
        return ret;
    } else {
        LOG_DBG("slab allocated successfully!");
    }

    memset((uint16_t*)mem_blocks, 0, (NUM_SAMPLES * NUM_BLOCKS));

    Bluetooth::GattRegisterControlCallback(CommandId::AlarmCmd,
        [this](const uint8_t *buffer, Bluetooth::CommandKey key, Bluetooth::BleLength length, Bluetooth::BleOffset offset)
        {
            return OnBleCommand(buffer, key, length, offset);
        });

    // Start working thread
    k_thread_create(&worker, pollStackAreaAudio, K_THREAD_STACK_SIZEOF(pollStackAreaAudio),
                    &WorkingThreadAudio, this, nullptr, nullptr, taskPriorityAudio, 0, K_NO_WAIT);
    k_thread_suspend(&worker);

    return ret;    
}

bool AudioModule::OnBleCommand(const uint8_t *buffer, Bluetooth::CommandKey key, Bluetooth::BleLength length, Bluetooth::BleOffset offset){
    if (offset.value != 0 || length.value == 0)
    {
        return false;
    }
    LOG_DBG("AudioModule BLE Command received");

    Bluetooth::CommandKey bleCommand;
    memcpy(&bleCommand, &key, sizeof(key));

    switch(bleCommand.key[0]){
        case static_cast<uint8_t>(BleCommand::StartSampling):
            StartSampling();
            break;
        case static_cast<uint8_t>(BleCommand::StopSampling):
            StopSampling();
            break;

        default:
            break;
    }

    return true;
}

int AudioModule::StartSampling(){
    /* Start the transmission of data */
	int ret = i2s_trigger(i2s_dev, I2S_DIR_TX, I2S_TRIGGER_START);
	if (ret < 0) {
		LOG_ERR("Failed to start the transmission: %d", ret);
	} else {
        LOG_DBG("Resuming thread...");
        k_thread_resume(&worker);
    }
    return ret;
}

int AudioModule::StopSampling(){
	/* Start the transmission of data */
	int ret = i2s_trigger(i2s_dev, I2S_DIR_TX, I2S_TRIGGER_DRAIN);
	if (ret < 0) {
		LOG_ERR("Failed to stop the transmission: %d", ret);
	} else {
        LOG_DBG("Suspending thread...");
        k_thread_suspend(&worker);
    }
    return ret;
}

    /**
     * @brief Main working thread. Used to perform I2S transport.
     * It required a separate stack to not break main BLE stack state machine
     *
     * @param data pointer to this
     */
    void AudioModule::WorkingThreadAudio(void *data, void *, void *){
        AudioModule *self = static_cast<AudioModule *>(data);
        int ret = 0;
        uint32_t idx;
        uint32_t j = 0;

        for (;;)
        {
            /* Put data into the tx buffer */
            for (int i = 0; i < NUM_SAMPLES * NUM_BLOCKS; i++) {
                idx = 2 * (NUM_BLOCKS * NUM_SAMPLES) * j + 2*i;
                ((uint16_t*)self->mem_blocks)[i] = ((self->rawAudioData[idx+1]) << 8) | self->rawAudioData[idx];
                if (j >= self->J_LIMIT){
                    ((uint16_t*)self->mem_blocks)[i] = 0;
                }
            }

            j++;
            if (j >= 2*self->J_LIMIT){
                j = 0;
            }
            /* Write Data */
            ret = i2s_buf_write(self->i2s_dev, self->mem_blocks, I2S_BLOCK_SIZE);
            if (ret < 0) {
                LOG_ERR("Error: i2s_write failed with %d", ret);
            }
        }

    }
```

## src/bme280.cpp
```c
#include "bme280.hpp"
// For registering callback
#include "ble_service.hpp"

LOG_MODULE_REGISTER(bme280, LOG_LEVEL_INF);

Bme280::Bme280(UsbCommHandler &controller) : serialHandler(controller) {
    LOG_DBG("Bme280 Constructor!");
    k_timer_init(&timer, &Bme280::TimerHandler, nullptr);
    k_sem_init(&pollSemaphore, 0, 1);    
}

int Bme280::Initialize() {

    int ret = 0;
    // uint8_t part_id;
    
    LOG_DBG("Starting Bme280 Initialization..."); 
    
    packet_cnt = 0;
    sample_cnt = 0;
    bme280_dev = get_bme280_device();

    if (bme280_dev != nullptr){
        GetChipId(bme280_dev);
        // Start working thread
        k_thread_create(&worker, pollStackArea, K_THREAD_STACK_SIZEOF(pollStackArea),
                        &WorkingThread, this, nullptr, nullptr, taskPriority, 0, K_NO_WAIT);        
    } else {
        bme280_is_on_i2c_bus_.store(false, std::memory_order_relaxed);
        bmp280_is_on_i2c_bus_.store(false, std::memory_order_relaxed);
        bmx_id = 0x00;
        return -1;        
    }

    Bluetooth::GattRegisterControlCallback(CommandId::Bme280Cmd,
        [this](const uint8_t *buffer, Bluetooth::CommandKey key, Bluetooth::BleLength length, Bluetooth::BleOffset offset)
        {
            return OnBleCommand(buffer, key, length, offset);
        });

    return ret;
}

bool Bme280::OnBleCommand(const uint8_t *buffer, Bluetooth::CommandKey key, Bluetooth::BleLength length, Bluetooth::BleOffset offset){
    if (offset.value != 0 || length.value == 0)
    {
        return false;
    }
    LOG_DBG("Bme280 BLE Command received");

    Bluetooth::CommandKey bleCommand;
    memcpy(&bleCommand, &key, sizeof(key));
          
    switch(bleCommand.key[0]){
        case static_cast<uint8_t>(BleCommand::StartSampling):
            StartSampling();
            break;
        case static_cast<uint8_t>(BleCommand::StopSampling):
            StopSampling();
            break;
        
        default:
            break;
    }
    
    return true;
}

void Bme280::GetChipId(const struct device *dev){
    struct bme280_data *data = ToData(dev);

    bmx_id = data->chip_id;
    if(data->chip_id == bme280_id){
        LOG_DBG("BME280 on I2C bus!");
        bme280_is_on_i2c_bus_.store(true, std::memory_order_relaxed);
    } else if (data->chip_id == bmp280_id_sample_1 || data->chip_id == bmp280_id_mp){
        LOG_DBG("BMP280 on I2C bus!");
        bmp280_is_on_i2c_bus_.store(true, std::memory_order_relaxed);
    }
}
const struct device * Bme280::get_bme280_device(void){
	
    const struct device *dev = DEVICE_DT_GET_ANY(bosch_bme280);

	if (dev == nullptr) {
		/* No such node, or the node does not have status "okay". */
		LOG_ERR("\nError: no BME280 device found.\n");
		return nullptr;
	}

	if (!device_is_ready(dev)) {
		LOG_ERR("\nError: Device \"%s\" is not ready; "
		       "check the driver initialization logs for errors.\n",
		       dev->name);        
		return nullptr;
	}

	LOG_DBG("Found device \"%s\", getting sensor data\n", dev->name);
	return dev;    
}

struct bme280_data * Bme280::ToData(const struct device *dev){
    return static_cast<bme280_data *>(dev->data);
}

void Bme280::StartSampling(){
    // Start BME280 polling
    k_timer_start(&timer, K_MSEC(pollPeriod), K_MSEC(pollPeriod));
}   

void Bme280::StopSampling(){
    k_timer_stop(&timer);
}

bool Bme280::BmX280IsOnI2cBus(){
    bool status;
    // Return TRUE if either of BMP280 or BME280 is on I2C bus
    status = (bme280_is_on_i2c_bus_.load(std::memory_order_relaxed) || bmp280_is_on_i2c_bus_.load(std::memory_order_relaxed));
    return status;
}

bool Bme280::Bme280IsOnI2cBus(){
    bool status;
    // Return TRUE if BME280 is on I2C bus
    status = bme280_is_on_i2c_bus_.load(std::memory_order_relaxed);
    return status;
}
```
